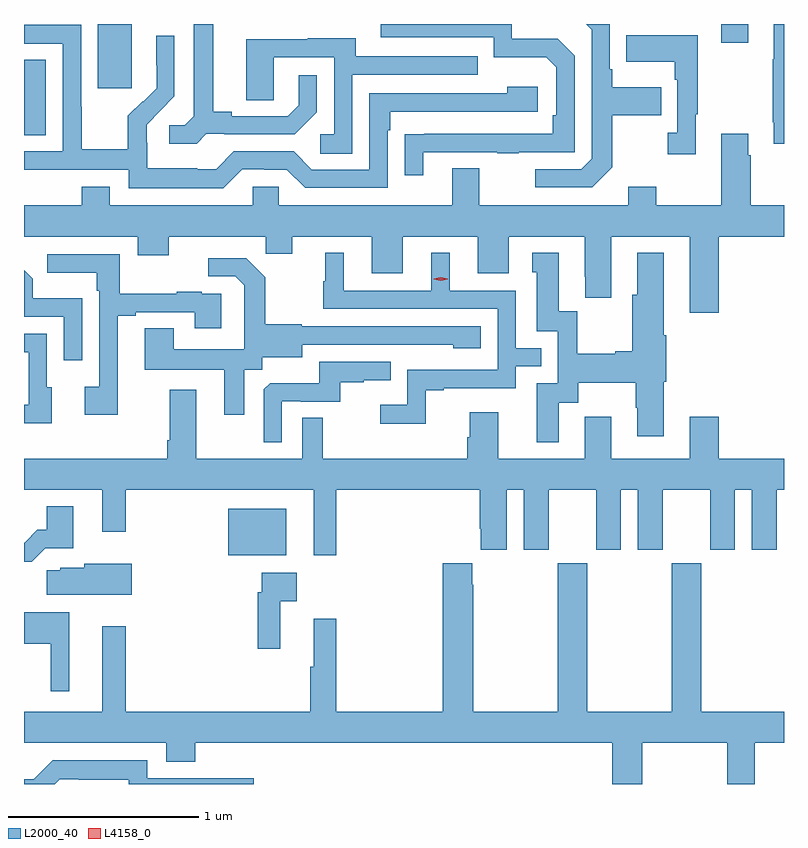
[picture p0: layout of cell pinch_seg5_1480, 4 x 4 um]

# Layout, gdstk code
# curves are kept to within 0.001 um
import gdstk
lib = gdstk.Library(unit=1e-6, precision=1e-09)
def R(c, l, rs):  # rectangles x0, y0, x1, y1
    for r in rs: c.add(gdstk.rectangle(r[:2], r[2:], *l))
def P(c, l, *ps):  # polygons
    for p in ps: c.add(gdstk.Polygon(p, *l))
L2000_40 = (2000, 40)
L4158_0 = (4158, 0)

pinch_seg5_1480 = lib.new_cell('pinch_seg5_1480')
R(pinch_seg5_1480, L2000_40, [(277.232,840.431,277.537,840.676), (276.156,842.641,276.271,843.038), (276.545,842.889,276.724,843.227), (279.827,843.129,279.967,843.227)])
P(pinch_seg5_1480, L2000_40, [(280.156,843.227),(280.103,843.227),(280.103,843.041),(280.096,843.041),(280.096,842.71),(280.103,842.71),(280.103,842.598),(280.156,842.598)],
  [(278.257,842.553),(278.647,842.553),(278.647,842.548),(278.759,842.548),(278.759,842.553),(279.054,842.553),(279.054,843.06),(278.964,843.15),(278.724,843.15),(278.724,843.227),(278.033,843.227),(278.033,843.156),(278.628,843.156),(278.628,843.053),(278.905,843.053),(278.958,843),(278.958,842.746),(278.938,842.746),(278.938,842.649),(278.161,842.648),(278.161,842.43),(278.257,842.43)],
  [(279.253,842.473),(279.253,842.746),(279.509,842.746),(279.509,842.893),(279.253,842.893),(279.253,842.989),(279.24,842.989),(279.24,843.227),(279.115,843.227),(279.144,843.198),(279.144,842.517),(279.09,842.463),(278.847,842.463),(278.847,842.367),(279.147,842.367)],
  [(277.116,842.649),(277.21,842.649),(277.21,842.646),(277.582,842.646),(277.698,842.762),(277.698,842.956),(277.601,842.956),(277.601,842.799),(277.544,842.742),(277.249,842.742),(277.249,842.765),(277.153,842.765),(277.153,843.227),(277.049,843.227),(277.049,842.741),(277.002,842.694),(276.921,842.694),(276.921,842.597),(277.064,842.597)],
  [(277.305,842.463),(277.421,842.463),(277.421,842.46),(277.539,842.46),(277.635,842.364),(278.07,842.364),(278.07,842.669),(278.083,842.669),(278.083,842.766),(278.86,842.766),(278.86,842.896),(278.699,842.896),(278.699,842.862),(277.974,842.862),(277.974,842.46),(277.671,842.46),(277.575,842.556),(277.26,842.556),(277.167,842.463),(277.067,842.463),(277.067,842.467),(276.804,842.467),(276.804,842.601),(276.802,842.601),(276.802,842.698),(276.948,842.846),(276.948,843.164),(276.852,843.164),(276.852,843.01),(276.854,843.01),(276.854,842.888),(276.783,842.817),(276.78,842.82),(276.703,842.743),(276.703,842.569),(276.459,842.569),(276.459,842.792),(276.456,842.792),(276.456,843.222),(276.156,843.222),(276.156,843.123),(276.36,843.123),(276.36,842.556),(276.156,842.556),(276.156,842.46),(276.708,842.46),(276.708,842.363),(277.205,842.363)],
  [(279.691,842.753),(279.703,842.753),(279.703,843.169),(279.325,843.169),(279.325,843.029),(279.582,843.029),(279.582,842.933),(279.594,842.933),(279.594,842.654),(279.543,842.654),(279.543,842.541),(279.691,842.541)],
  [(277.884,842.961),(278.543,842.961),(278.543,843.057),(277.903,843.057),(277.903,843.151),(277.649,843.151),(277.649,843.147),(277.325,843.147),(277.325,842.827),(277.47,842.827),(277.47,843.051),(277.788,843.051),(277.788,842.646),(277.716,842.646),(277.716,842.545),(277.884,842.545)],
  [(279.812,842.108),(280.156,842.108),(280.156,842.272),(279.98,842.272),(279.98,842.537),(279.967,842.537),(279.967,842.65),(279.827,842.65),(279.827,842.272),(279.483,842.272),(279.483,842.371),(279.335,842.371),(279.335,842.272),(278.551,842.272),(278.551,842.467),(278.411,842.467),(278.411,842.272),(277.497,842.272),(277.497,842.37),(277.359,842.37),(277.359,842.272),(276.607,842.272),(276.607,842.371),(276.46,842.371),(276.46,842.272),(276.156,842.272),(276.156,842.108),(276.755,842.108),(276.755,842.009),(276.919,842.009),(276.919,842.108),(277.429,842.108),(277.429,842.018),(277.567,842.018),(277.567,842.108),(277.985,842.108),(277.985,841.914),(278.149,841.914),(278.149,842.108),(278.543,842.108),(278.543,841.914),(278.707,841.914),(278.707,842.108),(279.107,842.108),(279.107,841.897),(279.11,841.897),(279.11,841.785),(279.247,841.785),(279.247,842.108),(279.659,842.108),(279.659,841.707),(279.812,841.707)],
  [(278.271,841.299),(278.365,841.299),(278.365,841.311),(278.745,841.311),(278.745,841.425),(278.879,841.425),(278.879,841.521),(278.745,841.521),(278.745,841.824),(278.398,841.824),(278.398,842.023),(278.3,842.023),(278.3,841.824),(277.84,841.824),(277.84,842.023),(277.742,842.023),(277.742,841.872),(277.731,841.872),(277.731,841.728),(278.649,841.728),(278.649,841.407),(278.172,841.407),(278.172,841.222),(278.031,841.222),(278.031,841.124),(278.271,841.124)],
  [(278.971,841.234),(279.073,841.234),(279.073,841.34),(279.376,841.34),(279.376,841.206),(279.383,841.206),(279.383,841.056),(279.523,841.056),(279.523,841.344),(279.536,841.344),(279.536,841.588),(279.523,841.588),(279.523,842.023),(279.383,842.023),(279.383,841.803),(279.358,841.803),(279.358,841.505),(279.269,841.505),(279.269,841.492),(279.069,841.492),(279.069,841.715),(278.971,841.715),(278.971,842.023),(278.831,842.023),(278.831,841.92),(278.855,841.92),(278.855,841.611),(278.964,841.611),(278.964,841.335),(278.855,841.335),(278.855,841.026),(278.971,841.026)],
  [(276.649,841.692),(276.745,841.692),(276.745,841.71),(277.055,841.71),(277.055,841.626),(277.195,841.626),(277.195,841.806),(277.091,841.806),(277.091,841.819),(276.959,841.819),(276.959,841.808),(276.661,841.808),(276.661,842.016),(276.279,842.016),(276.279,841.919),(276.54,841.919),(276.54,841.823),(276.552,841.823),(276.552,841.318),(276.477,841.318),(276.477,841.17),(276.649,841.17)],
  [(277.315,841.408),(277.41,841.408),(277.41,841.472),(277.621,841.472),(277.621,841.539),(278.415,841.538),(278.415,841.52),(278.56,841.52),(278.56,841.635),(277.617,841.635),(277.617,841.648),(277.425,841.648),(277.425,841.893),(277.325,841.993),(277.125,841.993),(277.125,841.899),(277.269,841.899),(277.316,841.852),(277.316,841.757),(277.314,841.757),(277.314,841.516),(276.943,841.516),(276.943,841.625),(276.791,841.625),(276.791,841.406),(277.211,841.406),(277.211,841.17),(277.315,841.17)],
  [(276.462,841.783),(276.201,841.783),(276.201,841.886),(276.156,841.931),(276.156,841.686),(276.366,841.686),(276.366,841.458),(276.462,841.458)],
  [(276.301,841.314),(276.276,841.314),(276.276,841.596),(276.156,841.596),(276.156,841.5),(276.18,841.5),(276.18,841.224),(276.156,841.224),(276.156,841.127),(276.301,841.127)],
  [(277.512,841.242),(277.612,841.242),(277.612,841.239),(277.82,841.239),(277.82,841.341),(277.943,841.341),(277.943,841.352),(278.087,841.352),(278.087,841.449),(277.71,841.449),(277.71,841.337),(277.451,841.337),(277.419,841.305),(277.419,841.025),(277.512,841.025)],
  [(277.799,840.776),(278.555,840.776),(278.555,840.571),(278.561,840.571),(278.561,840.459),(278.698,840.459),(278.698,840.776),(278.786,840.776),(278.786,840.459),(278.917,840.459),(278.917,840.776),(279.167,840.776),(279.167,840.459),(279.298,840.459),(279.298,840.776),(279.386,840.776),(279.386,840.459),(279.517,840.459),(279.517,840.776),(279.767,840.776),(279.767,840.459),(279.898,840.459),(279.898,840.776),(279.986,840.776),(279.986,840.459),(280.117,840.459),(280.117,840.776),(280.156,840.776),(280.156,840.94),(279.812,840.94),(279.812,841.159),(279.659,841.159),(279.659,840.94),(279.247,840.94),(279.247,841.159),(279.107,841.159),(279.107,840.94),(278.653,840.94),(278.653,841.183),(278.501,841.183),(278.501,841.053),(278.489,841.053),(278.489,840.94),(277.729,840.94),(277.729,841.154),(277.62,841.154),(277.62,840.94),(277.063,840.94),(277.063,841.303),(276.923,841.303),(276.923,841.036),(276.911,841.036),(276.911,840.94),(276.156,840.94),(276.156,840.776),(276.569,840.776),(276.569,840.555),(276.691,840.555),(276.691,840.776),(277.682,840.776),(277.682,840.432),(277.799,840.432)],
  [(276.267,840.468),(276.415,840.468),(276.415,840.688),(276.275,840.688),(276.275,840.565),(276.226,840.565),(276.159,840.498),(276.156,840.498),(276.156,840.398),(276.197,840.398)],
  [(279.411,839.444),(279.856,839.444),(279.856,839.227),(280.003,839.227),(280.003,839.444),(280.156,839.444),(280.156,839.608),(279.72,839.608),(279.72,840.388),(279.565,840.388),(279.565,839.608),(279.12,839.608),(279.12,840.388),(278.965,840.388),(278.965,839.608),(278.52,839.608),(278.52,840.275),(278.515,840.275),(278.515,840.388),(278.36,840.388),(278.36,839.608),(277.799,839.608),(277.799,840.097),(277.682,840.097),(277.682,839.844),(277.663,839.844),(277.663,839.608),(276.691,839.608),(276.691,840.058),(276.569,840.058),(276.569,839.608),(276.156,839.608),(276.156,839.444),(276.905,839.444),(276.905,839.345),(277.058,839.345),(277.058,839.444),(279.251,839.444),(279.251,839.227),(279.411,839.227)],
  [(276.724,840.385),(276.474,840.385),(276.474,840.364),(276.348,840.364),(276.348,840.353),(276.276,840.353),(276.276,840.224),(276.724,840.224)],
  [(277.505,840.188),(277.591,840.188),(277.591,840.34),(277.407,840.34),(277.407,840.236),(277.387,840.236),(277.387,839.94),(277.505,839.94)],
  [(276.394,840.13),(276.156,840.13),(276.156,839.966),(276.296,839.966),(276.296,839.715),(276.394,839.715)],
  [(276.345,839.253),(276.445,839.253),(276.445,839.249),(276.708,839.249),(276.708,839.227),(277.366,839.227),(277.366,839.256),(276.804,839.256),(276.804,839.353),(276.307,839.353),(276.207,839.253),(276.156,839.253),(276.156,839.227),(276.319,839.227)])
P(pinch_seg5_1480, L4158_0, [(278.349,841.875),(278.313,841.884),(278.313,841.885),(278.313,841.885),(278.349,841.895),(278.385,841.885),(278.385,841.885),(278.385,841.884)])

lib.write_gds('pinch_seg5_1480.gds')
